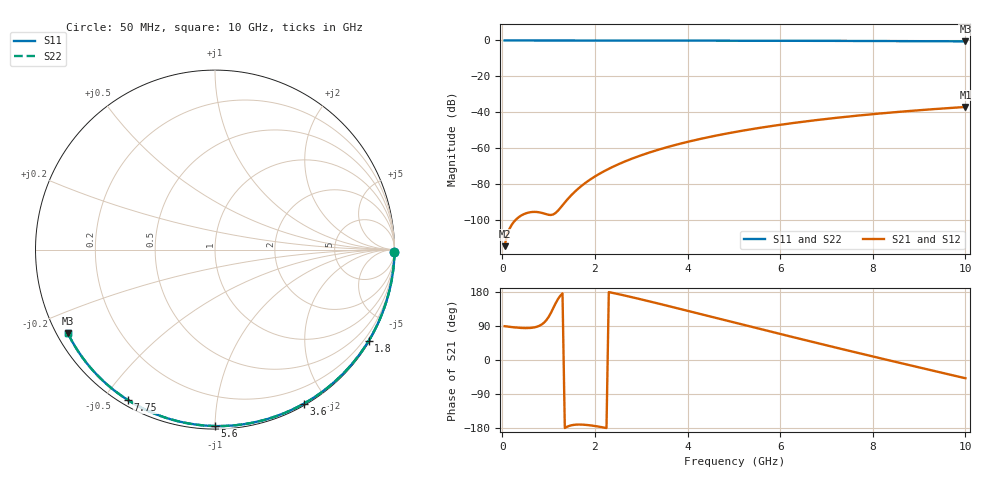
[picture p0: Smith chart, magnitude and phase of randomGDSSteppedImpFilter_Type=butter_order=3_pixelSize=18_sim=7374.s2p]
! freq	dB(S11)	phase(S11)	dB(S12)	phase(S12)
!  dB(S21)	phase(S21)	dB(S22)	phase(S22)
!S-par simulation data
#  GHz  S  DB  R 50
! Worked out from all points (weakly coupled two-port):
!   200 points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, 50 MHz to 10 GHz, reference 50 ohm
!   highest |S21| = -37.09 dB at 10 GHz (marker M1); lowest = -114.7 dB at 50 MHz (marker M2)
!   lowest |S11| = -0.5 dB at 10 GHz (marker M3), VSWR 34.17, Z = 1.56 - j13.2 ohm
!   |S11| at or under -10 dB: nowhere
!   |S22| runs from -0.5 to 0.0 dB; largest |S21 - S12| = 0
!   S11 on the Smith chart (normalised r, x): 50 MHz: open; 1.8 GHz: 0.03, -3.63; 3.6 GHz: 0.02, -1.73; 5.6 GHz: 0.02, -1.00; 7.75 GHz: 0.02, -0.58; 10 GHz: 0.03, -0.26
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0.05  -0.00 -0.9  -114.69 89.2  -114.69 89.2  -0.00 -0.9
0.45  -0.01 -7.8  -97.03 84.3  -97.03 84.3  -0.01 -7.8
0.9  -0.02 -15.5  -96.48 98.4  -96.48 98.4  -0.02 -15.6
1.3  -0.03 -22.4  -91.88 175.7  -91.88 175.7  -0.03 -22.4
1.75  -0.04 -29.9  -80.28 -170.7  -80.28 -170.7  -0.04 -29.9
1.8  -0.04 -30.8  -79.30 -171.1  -79.30 -171.1  -0.04 -30.8
1.95  -0.04 -33.3  -76.65 -173.3  -76.65 -173.3  -0.04 -33.3
2.1  -0.05 -35.8  -74.31 -176.2  -74.31 -176.2  -0.05 -35.8
2.3  -0.05 -39.1  -71.54 179.2  -71.54 179.2  -0.05 -39.1
2.5  -0.05 -42.4  -69.10 174.0  -69.10 174.0  -0.05 -42.4
2.9  -0.06 -48.9  -64.93 162.9  -64.93 162.9  -0.06 -48.9
3.4  -0.08 -56.9  -60.68 148.1  -60.68 148.1  -0.08 -56.9
3.6  -0.08 -60.0  -59.20 142.0  -59.20 142.0  -0.08 -60.0
4.3  -0.10 -70.8  -54.76 120.7  -54.76 120.7  -0.10 -70.9
5.05  -0.13 -82.1  -50.92 97.7  -50.92 97.7  -0.13 -82.1
5.6  -0.15 -90.1  -48.56 80.9  -48.56 80.9  -0.15 -90.1
6.15  -0.17 -98.0  -46.49 64.2  -46.49 64.2  -0.17 -98.0
6.7  -0.21 -105.7  -44.66 47.7  -44.66 47.7  -0.21 -105.7
7.75  -0.28 -120.1  -41.71 16.6  -41.71 16.6  -0.28 -120.1
8.35  -0.33 -128.2  -40.27 -0.8  -40.27 -0.8  -0.33 -128.2
9.2  -0.41 -139.6  -38.50 -25.3  -38.50 -25.3  -0.41 -139.6
10  -0.51 -150.5  -37.09 -48.1  -37.09 -48.1  -0.51 -150.5
